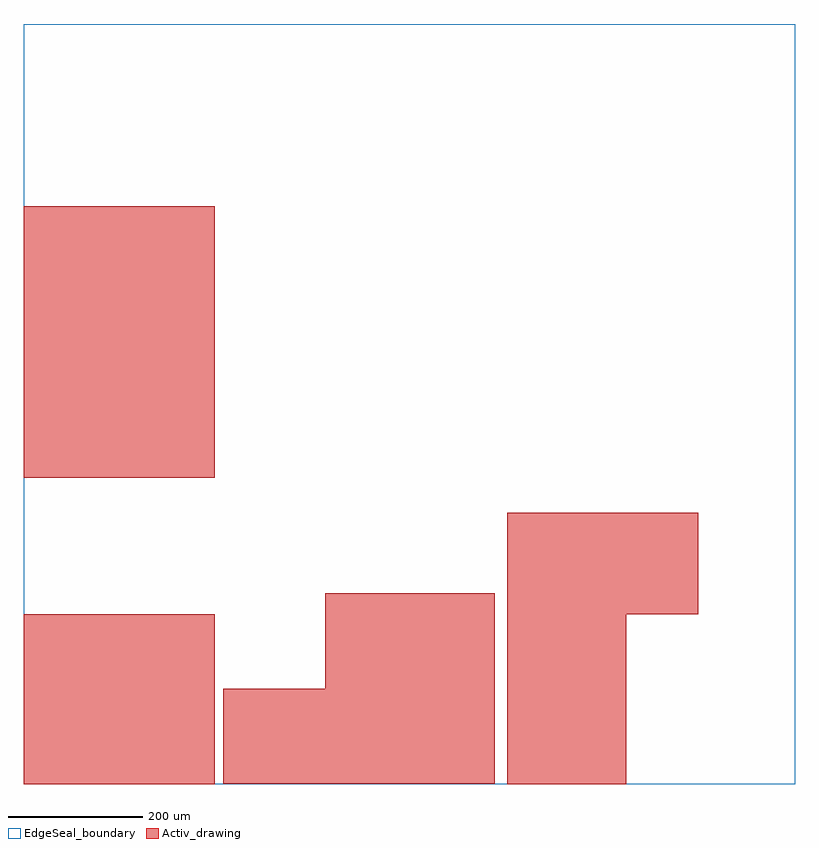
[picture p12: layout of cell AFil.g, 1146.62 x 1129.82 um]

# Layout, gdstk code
import gdstk
lib = gdstk.Library(unit=1e-6, precision=1e-09)
def R(c, l, rs):  # rectangles x0, y0, x1, y1
    for r in rs: c.add(gdstk.rectangle(r[:2], r[2:], *l))
def A(c, l, x, y, w, h, nx, ny, dx, dy):  # array of equal rectangles
    R(c, l, [(x+i*dx, y+j*dy, x+i*dx+w, y+j*dy+h) for i in range(nx) for j in range(ny)])
Activ_drawing = (1, 0)
EdgeSeal_boundary = (39, 4)

afil_g = lib.new_cell('AFil.g')
A(afil_g, Activ_drawing, 0, 0, 35, 50, 8, 5, 35.5, 50.5)
A(afil_g, Activ_drawing, 718.9, 0, 35, 50, 5, 5, 35.5, 50.5)
A(afil_g, Activ_drawing, 296.58, 0.03, 50, 35, 8, 4, 50.5, 35.5)
A(afil_g, Activ_drawing, 448.08, 142.03, 50, 35, 5, 4, 50.5, 35.5)
A(afil_g, Activ_drawing, 718.9, 252.5, 35, 50, 8, 3, 35.5, 50.5)
A(afil_g, Activ_drawing, 0, 455.31, 35, 50, 8, 8, 35.5, 50.5)
R(afil_g, EdgeSeal_boundary, [(0,0,1146.62,1129.82)])

lib.write_gds('AFil.g.gds')
